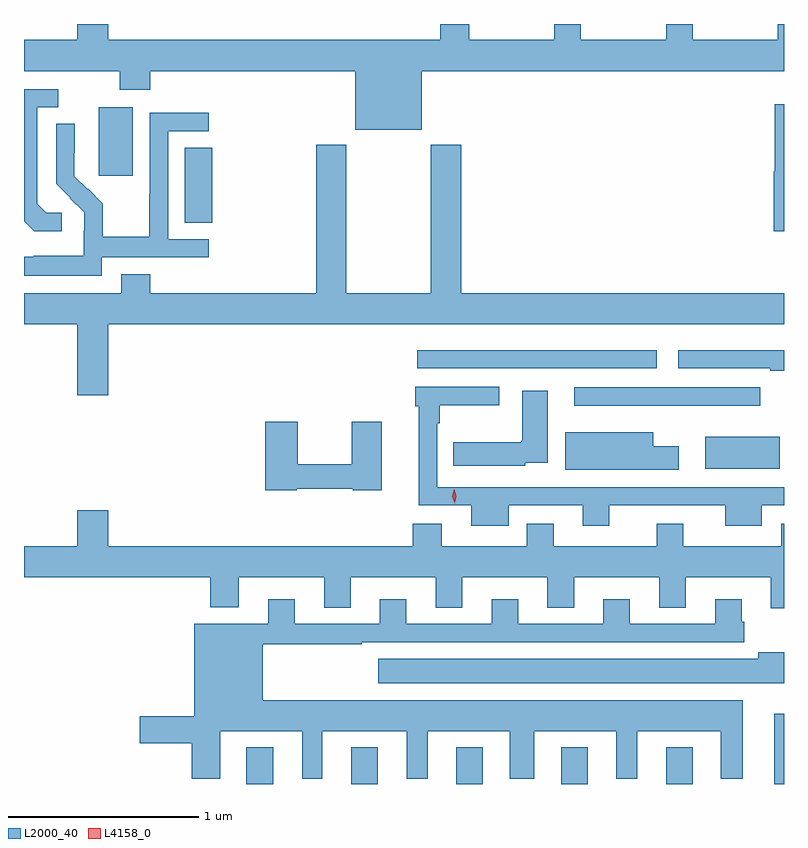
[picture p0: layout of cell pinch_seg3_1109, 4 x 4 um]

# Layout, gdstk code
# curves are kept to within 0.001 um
import gdstk
lib = gdstk.Library(unit=1e-6, precision=1e-09)
def R(c, l, rs):  # rectangles x0, y0, x1, y1
    for r in rs: c.add(gdstk.rectangle(r[:2], r[2:], *l))
def A(c, l, x, y, w, h, nx, ny, dx, dy):  # array of equal rectangles
    R(c, l, [(x+i*dx, y+j*dy, x+i*dx+w, y+j*dy+h) for i in range(nx) for j in range(ny)])
def P(c, l, *ps):  # polygons
    for p in ps: c.add(gdstk.Polygon(p, *l))
L2000_40 = (2000, 40)
L4158_0 = (4158, 0)

pinch_seg3_1109 = lib.new_cell('pinch_seg3_1109')
A(pinch_seg3_1109, L2000_40, 153.911, 733.128, 0.14, 0.193, 5, 1, 0.552, 0)
R(pinch_seg3_1109, L2000_40, [(156.689,733.128,156.74,733.498), (156.326,734.786,156.718,734.956), (155.637,735.119,156.616,735.216), (154.809,735.315,156.07,735.412), (153.587,736.081,153.731,736.478), (153.134,736.329,153.313,736.69)])
P(pinch_seg3_1109, L2000_40, [(154.834,736.88),(156.74,736.88),(156.74,737.128),(156.707,737.128),(156.707,737.044),(156.259,737.044),(156.259,737.128),(156.119,737.128),(156.119,737.044),(155.671,737.044),(155.671,737.128),(155.531,737.128),(155.531,737.044),(155.083,737.044),(155.083,737.128),(154.931,737.128),(154.931,737.044),(153.184,737.044),(153.184,737.128),(153.02,737.128),(153.02,737.044),(152.74,737.044),(152.74,736.88),(153.244,736.88),(153.244,736.781),(153.404,736.781),(153.404,736.88),(154.484,736.88),(154.484,736.571),(154.834,736.571)],
  [(152.938,736.134),(152.856,736.134),(152.809,736.181),(152.809,736.689),(152.92,736.689),(152.92,736.785),(152.74,736.785),(152.74,736.089),(152.742,736.089),(152.794,736.037),(152.938,736.037)],
  [(156.74,736.705),(156.692,736.705),(156.692,736.353),(156.686,736.353),(156.686,736.038),(156.74,736.038)],
  [(153.15,735.9),(153.712,735.9),(153.712,735.996),(153.498,735.996),(153.498,736.563),(153.712,736.563),(153.712,736.662),(153.402,736.662),(153.402,736.232),(153.4,736.232),(153.4,736.009),(153.155,736.009),(153.155,736.183),(153.078,736.26),(153.075,736.257),(153.005,736.328),(153.006,736.604),(152.91,736.604),(152.91,736.286),(153.056,736.138),(153.056,736.041),(153.054,736.041),(153.054,735.907),(152.791,735.907),(152.791,735.903),(152.74,735.903),(152.74,735.803),(153.15,735.803)],
  [(153.184,735.548),(156.74,735.548),(156.74,735.712),(155.042,735.712),(155.042,736.492),(154.882,736.492),(154.882,735.712),(154.437,735.712),(154.437,736.492),(154.277,736.492),(154.277,735.712),(153.404,735.712),(153.404,735.811),(153.251,735.811),(153.251,735.712),(152.74,735.712),(152.74,735.548),(153.02,735.548),(153.02,735.174),(153.184,735.174)],
  [(156.74,735.412),(156.183,735.412),(156.183,735.315),(156.668,735.315),(156.668,735.303),(156.74,735.303)],
  [(155.29,734.595),(155.681,734.595),(155.681,734.486),(155.821,734.486),(155.821,734.595),(156.431,734.595),(156.431,734.486),(156.622,734.486),(156.622,734.595),(156.74,734.595),(156.74,734.691),(154.914,734.691),(154.914,735.026),(154.927,735.026),(154.927,735.122),(155.242,735.122),(155.242,735.219),(154.798,735.219),(154.798,735.116),(154.817,735.116),(154.817,734.595),(155.093,734.595),(155.093,734.486),(155.29,734.486)],
  [(155.379,734.819),(155.497,734.819),(155.497,735.199),(155.363,735.199),(155.363,734.934),(155.356,734.934),(155.356,734.926),(154.999,734.926),(154.999,734.804),(155.379,734.804)],
  [(154.176,734.682),(154.47,734.682),(154.47,734.674),(154.624,734.674),(154.624,735.034),(154.466,735.034),(154.466,734.81),(154.18,734.81),(154.18,735.034),(154.01,735.034),(154.01,734.674),(154.176,734.674)],
  [(156.187,734.905),(156.052,734.905),(156.052,734.98),(155.588,734.98),(155.588,734.783),(156.187,734.783)],
  [(156.74,734.497),(156.725,734.497),(156.725,734.38),(156.211,734.38),(156.211,734.497),(156.071,734.497),(156.071,734.38),(155.527,734.38),(155.527,734.497),(155.387,734.497),(155.387,734.38),(154.939,734.38),(154.939,734.497),(154.787,734.497),(154.787,734.38),(153.184,734.38),(153.184,734.569),(153.02,734.569),(153.02,734.38),(152.74,734.38),(152.74,734.216),(153.719,734.216),(153.719,734.057),(153.871,734.057),(153.871,734.216),(154.319,734.216),(154.319,734.056),(154.459,734.056),(154.459,734.216),(154.907,734.216),(154.907,734.056),(155.047,734.056),(155.047,734.216),(155.495,734.216),(155.495,734.056),(155.635,734.056),(155.635,734.216),(156.083,734.216),(156.083,734.056),(156.223,734.056),(156.223,734.216),(156.671,734.216),(156.671,734.052),(156.74,734.052)],
  [(153.772,733.406),(154.205,733.406),(154.205,733.155),(154.309,733.155),(154.309,733.406),(154.754,733.406),(154.754,733.155),(154.864,733.155),(154.864,733.406),(155.297,733.406),(155.297,733.155),(155.425,733.155),(155.425,733.406),(155.858,733.406),(155.858,733.155),(155.968,733.155),(155.968,733.406),(156.407,733.406),(156.407,733.155),(156.523,733.155),(156.523,733.57),(153.997,733.57),(153.997,733.863),(154.517,733.863),(154.517,733.875),(156.53,733.875),(156.53,733.983),(156.517,733.983),(156.517,734.101),(156.377,734.101),(156.377,733.971),(155.929,733.971),(155.929,734.101),(155.789,734.101),(155.789,733.971),(155.341,733.971),(155.341,734.101),(155.201,734.101),(155.201,733.971),(154.753,733.971),(154.753,734.101),(154.613,734.101),(154.613,733.971),(154.165,733.971),(154.165,734.101),(154.025,734.101),(154.025,733.972),(153.635,733.972),(153.635,733.484),(153.348,733.484),(153.348,733.342),(153.623,733.342),(153.623,733.155),(153.772,733.155)],
  [(156.74,733.822),(156.605,733.822),(156.605,733.786),(154.605,733.786),(154.605,733.658),(156.74,733.658)])
P(pinch_seg3_1109, L4158_0, [(155.006,734.606),(155.006,734.607),(154.995,734.642),(155.004,734.679),(155.004,734.679),(155.004,734.679),(155.015,734.643),(155.006,734.607)])

lib.write_gds('pinch_seg3_1109.gds')
